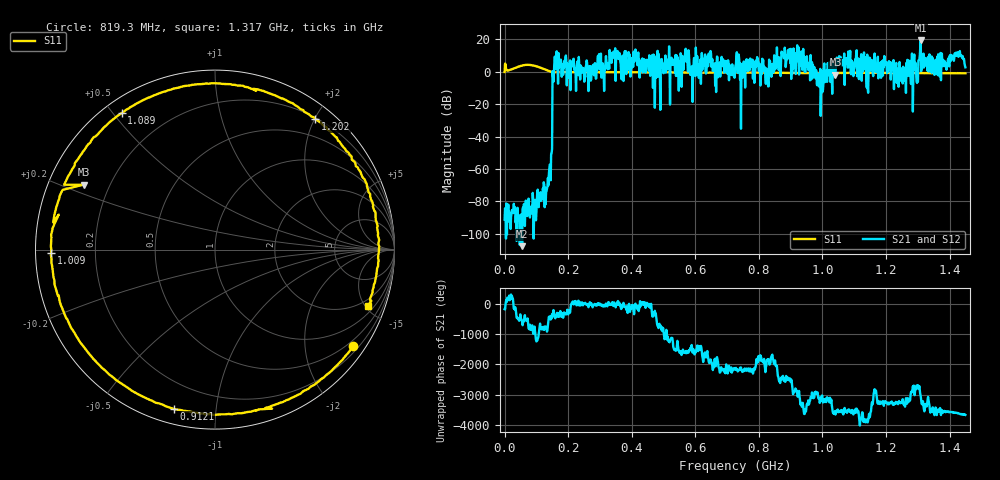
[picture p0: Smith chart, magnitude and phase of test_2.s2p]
! Created with skrf 1.11.0 (http://scikit-rf.org).
# Hz S RI R 50.0
!freq ReS11 ImS11 ReS21 ImS21 ReS12 ImS12 ReS22 ImS22
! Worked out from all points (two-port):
!   1001 points, 50 kHz to 1.45 GHz, reference 50 ohm
!   highest |S21| = 19.30 dB at 1.309 GHz (marker M1); lowest = -107.7 dB at 55.15 MHz (marker M2)
!   |S21| within 3 dB of the highest: 920.7627 MHz to 920.7742 MHz (11.47 kHz wide, 0.00125 % of centre); 1.308452 GHz to 1.309585 GHz (1.133 MHz wide, 0.0865 % of centre)
!   lowest |S11| = -1.8 dB at 1.041 GHz (marker M3), VSWR 9.91, Z = 5.32 + j11.6 ohm
!   |S11| at or under -10 dB: nowhere
!   |S22| runs from - to - dB; largest |S21 - S12| = 0
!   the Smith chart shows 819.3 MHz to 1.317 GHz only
!   S11 on the Smith chart (normalised r, x): 819.3 MHz: 0.35, -3.15; 912.1 MHz: 0.07, -0.77; 1.009 GHz: 0.05, -0.01; 1.089 GHz: 0.05, +0.53; 1.202 GHz: 0.22, +2.01; 1.317 GHz: 1.49, -5.20
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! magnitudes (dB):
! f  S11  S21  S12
! 50 kHz  -0.2  -91.3  -91.3
! 55.15 MHz  3.8  -107.7  -107.7
! 133.4 MHz  0.9  -72.0  -72.0
! 142.1 MHz  0.2  -57.4  -57.4
! 158.1 MHz  -0.4  9.3  9.3
! 242.2 MHz  -0.3  -0.2  -0.2
! 308.9 MHz  -0.3  5.1  5.1
! 340.8 MHz  -0.3  8.4  8.4
! 484.3 MHz  -0.4  11.1  11.1
! 725 MHz  -0.8  1.3  1.3
! 819.3 MHz  -0.5  2.6  2.6
! 912.1 MHz  -0.8  11.7  11.7
! 967.2 MHz  -0.8  5.9  5.9
! 1.009 GHz  -0.8  -6.2  -6.2
! 1.041 GHz  -1.8  -2.1  -2.1
! 1.089 GHz  -0.7  -0.8  -0.8
! 1.202 GHz  -0.7  3.3  3.3
! 1.209 GHz  -0.7  6.5  6.5
! 1.292 GHz  -0.8  1.3  1.3
! 1.309 GHz  -0.8  19.3  19.3
! 1.317 GHz  -0.9  4.3  4.3
! 1.45 GHz  -1.0  2.7  2.7
